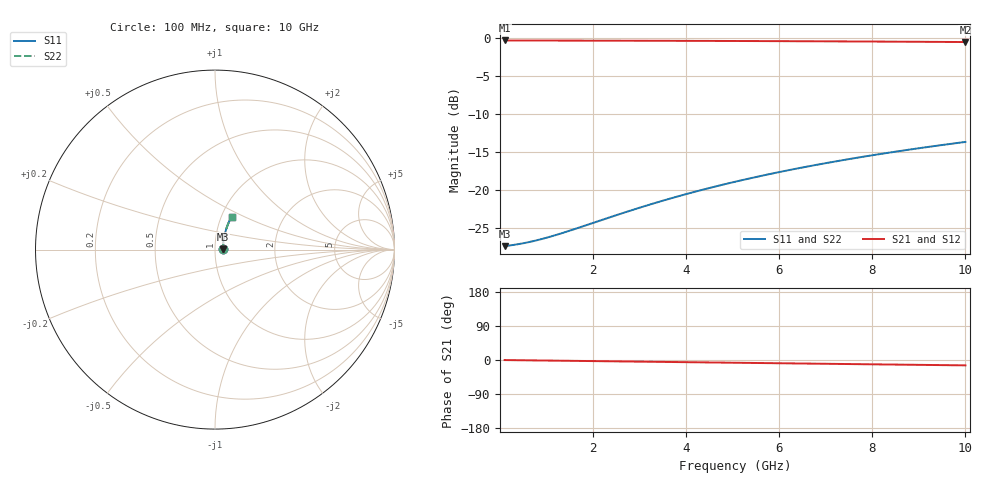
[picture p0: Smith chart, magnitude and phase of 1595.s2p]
# Hz S RI R 50.00
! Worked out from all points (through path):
!   100 points, 100 MHz to 10 GHz, reference 50 ohm
!   highest |S21| = -0.38 dB at 100 MHz (marker M1); lowest = -0.6 dB at 10 GHz (marker M2)
!   group delay of S21, straight-line fit = 3.94 ps
!   lowest |S11| = -27.4 dB at 100 MHz (marker M3), VSWR 1.09, Z = 54.4 + j0.213 ohm
!   |S11| at or under -10 dB: start of sweep to end of sweep
!   |S22| runs from -27.4 to -13.7 dB; largest |S21 - S12| = 0
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1e8  0.0424 0.00196  0.9576 -0.00241  0.9576 -0.00241  0.0424 0.00196
3e8  0.0429 0.00586  0.9571 -0.00721  0.9571 -0.00721  0.0429 0.00586
5e8  0.0432 0.00976  0.9568 -0.012  0.9568 -0.012  0.0432 0.00976
8e8  0.0437 0.0156  0.9563 -0.0192  0.9563 -0.0192  0.0437 0.0156
1e9  0.0441 0.0195  0.9559 -0.024  0.9559 -0.024  0.0441 0.0195
1.2e9  0.0444 0.0234  0.9555 -0.0288  0.9555 -0.0288  0.0444 0.0234
1.5e9  0.045 0.0292  0.955 -0.036  0.955 -0.036  0.045 0.0292
1.8e9  0.0457 0.035  0.9543 -0.0431  0.9543 -0.0431  0.0457 0.035
2.7e9  0.048 0.0523  0.9519 -0.0645  0.9519 -0.0645  0.048 0.0523
3.1e9  0.0492 0.06  0.9506 -0.074  0.9506 -0.074  0.0492 0.06
3.4e9  0.0503 0.0657  0.9496 -0.0811  0.9496 -0.0811  0.0503 0.0657
3.8e9  0.0518 0.0733  0.948 -0.0905  0.948 -0.0905  0.0518 0.0733
4.2e9  0.0534 0.0809  0.9464 -0.0998  0.9464 -0.0998  0.0534 0.0809
4.6e9  0.0552 0.0884  0.9445 -0.1091  0.9445 -0.1091  0.0552 0.0884
5.1e9  0.0576 0.0977  0.9421 -0.1207  0.9421 -0.1207  0.0576 0.0977
5.5e9  0.0597 0.1051  0.9399 -0.1299  0.9399 -0.1299  0.0597 0.1051
5.9e9  0.062 0.1125  0.9376 -0.1391  0.9376 -0.1391  0.062 0.1125
6.7e9  0.0669 0.127  0.9326 -0.1572  0.9326 -0.1572  0.0669 0.127
7.5e9  0.0723 0.1412  0.9271 -0.1751  0.9271 -0.1751  0.0723 0.1412
8.4e9  0.079 0.1569  0.9202 -0.1948  0.9202 -0.1948  0.079 0.1569
9.2e9  0.0855 0.1705  0.9135 -0.2121  0.9135 -0.2121  0.0855 0.1705
1e10  0.0925 0.1838  0.9064 -0.229  0.9064 -0.229  0.0925 0.1838
